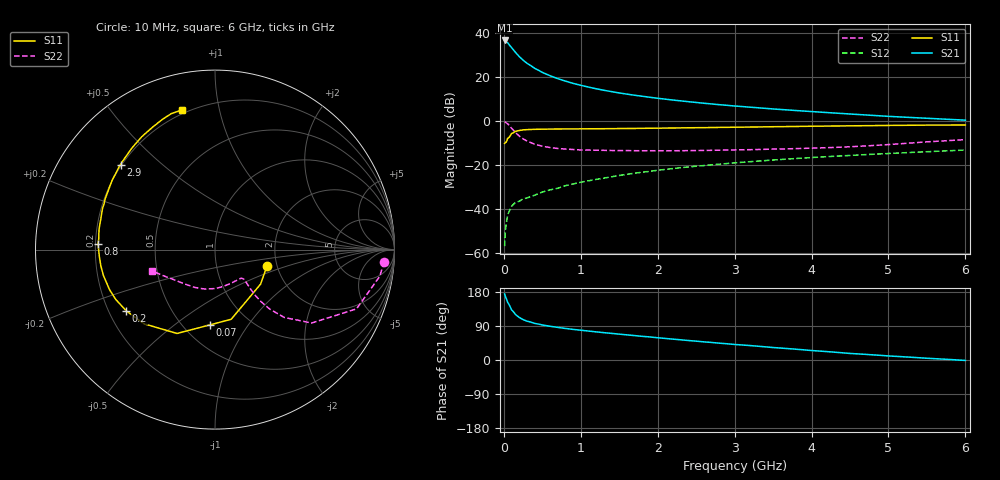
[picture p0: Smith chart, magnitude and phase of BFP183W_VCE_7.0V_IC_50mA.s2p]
! Infineon Technologies  Discrete & RF Semiconductors
! BFP183W
! VCE =  7.0 V,  IC =  50 mA
! Common Emitter S-Parameters:  Jan 2017
# GHz  S  MA  R  50
!  f  S11  S21  S12  S22
! GHz  MAG  ANG  MAG  ANG  MAG  ANG  MAG  ANG
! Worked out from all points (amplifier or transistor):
!   77 points, 10 MHz to 6 GHz, reference 50 ohm
!   highest |S21| = 36.5 dB at 10 MHz (marker M1)
!   |S21| within 3 dB of that: start of sweep to 94.65 MHz
!   unconditionally stable (mu >= 1): 667.5 MHz to 3.314 GHz
!   at 130 MHz: K = 0.39, MSG = 34.9 dB, |S12| = -37.9 dB
!   at 2.2 GHz: K = 1.07, MAG = 14.0 dB, |S12| = -21.8 dB
!   at 6 GHz: K = 0.85, MSG = 6.8 dB, |S12| = -13.3 dB
!   S11 on the Smith chart (normalised r, x): 10 MHz: 1.77, -0.36; 70 MHz: 0.67, -0.68; 200 MHz: 0.27, -0.29; 800 MHz: 0.21, +0.02; 2.9 GHz: 0.20, +0.37; 6 GHz: 0.18, +0.77
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0.01  0.304 -17.8  67.08 174.2  0.0014 71.7  0.945 -4.1
0.02  0.3186 -37.2  65.7 167.9  0.0031 90.7  0.9294 -9.3
0.05  0.3985 -76.9  59.45 152.0  0.0071 70.0  0.855 -22.7
0.07  0.4209 -94.1  53.51 145.3  0.0087 62.9  0.778 -27.7
0.1  0.5127 -114.3  46.38 132.4  0.0113 56.2  0.6766 -37.2
0.15  0.5725 -133.8  36.11 120.4  0.0138 52.6  0.5401 -44.4
0.2  0.6007 -145.4  28.92 112.3  0.0147 50.1  0.4497 -47.4
0.25  0.6188 -153.3  23.96 106.7  0.0167 51.2  0.3879 -48.5
0.3  0.6284 -159.2  20.35 102.6  0.0175 50.4  0.3452 -48.7
0.4  0.6383 -166.9  15.62 96.6  0.0202 55.4  0.2926 -47.9
0.5  0.6427 -172.2  12.6 92.5  0.0238 58.2  0.2635 -46.9
0.6  0.6454 -176.5  10.58 89.0  0.0267 59.6  0.2456 -46.2
0.7  0.6483 -179.8  9.088 86.1  0.0291 62.0  0.2336 -45.7
0.8  0.6519 177.1  7.984 83.3  0.0333 64.6  0.2269 -45.9
1.1  0.6559 169.8  5.832 76.4  0.043 66.0  0.2155 -48.1
1.5  0.6641 161.6  4.291 68.3  0.0568 66.5  0.2094 -53.7
2.1  0.6805 150.6  3.097 56.9  0.0782 65.2  0.2075 -66.7
2.9  0.7082 138.0  2.242 42.8  0.1063 61.4  0.2154 -88.2
3.1  0.7148 135.1  2.1 39.6  0.1134 60.1  0.2182 -93.6
4.1  0.7525 121.7  1.576 23.6  0.1487 53.8  0.2408 -120.7
5.1  0.7844 111.2  1.233 9.6  0.1832 47.1  0.295 -147.0
6  0.7999 103.4  1.03 -1.2  0.2157 40.6  0.3716 -161.7
